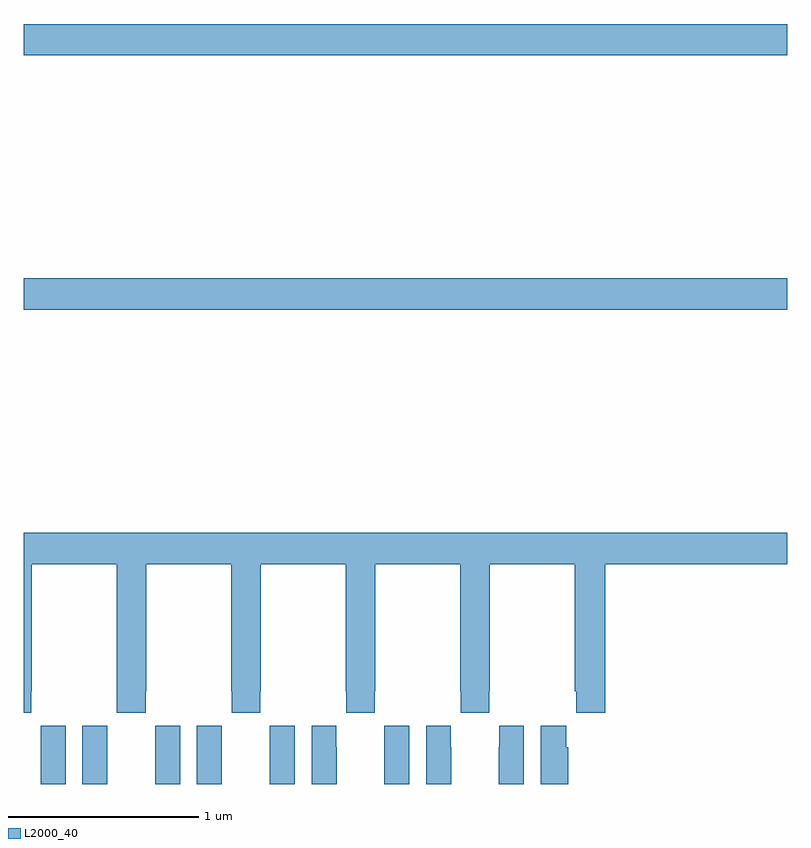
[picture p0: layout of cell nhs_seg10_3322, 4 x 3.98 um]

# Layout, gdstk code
import gdstk
lib = gdstk.Library(unit=1e-6, precision=1e-09)
def R(c, l, rs):  # rectangles x0, y0, x1, y1
    for r in rs: c.add(gdstk.rectangle(r[:2], r[2:], *l))
def P(c, l, *ps):  # polygons
    for p in ps: c.add(gdstk.Polygon(p, *l))
L2000_40 = (2000, 40)

nhs_seg10_3322 = lib.new_cell('nhs_seg10_3322')
R(nhs_seg10_3322, L2000_40, [(291,1298.984,295,1299.148), (291,1300.316,295,1300.48)])
P(nhs_seg10_3322, L2000_40, [(291.039,1296.985),(291.042,1296.985),(291.042,1297.652),(291.487,1297.652),(291.487,1296.985),(291.489,1296.985),(291.489,1296.873),(291.639,1296.873),(291.639,1296.985),(291.642,1296.985),(291.642,1297.652),(292.087,1297.652),(292.087,1296.985),(292.089,1296.985),(292.089,1296.873),(292.239,1296.873),(292.239,1296.985),(292.242,1296.985),(292.242,1297.652),(292.687,1297.652),(292.687,1296.985),(292.689,1296.985),(292.689,1296.873),(292.839,1296.873),(292.839,1296.985),(292.842,1296.985),(292.842,1297.652),(293.287,1297.652),(293.287,1296.985),(293.289,1296.985),(293.289,1296.873),(293.439,1296.873),(293.439,1296.985),(293.442,1296.985),(293.442,1297.652),(293.887,1297.652),(293.887,1296.985),(293.893,1296.985),(293.893,1296.873),(294.047,1296.873),(294.047,1297.652),(295,1297.652),(295,1297.816),(291,1297.816),(291,1296.873),(291.039,1296.873)],
  [(293.852,1296.692),(293.842,1296.692),(293.842,1296.805),(293.708,1296.805),(293.708,1296.5),(293.852,1296.5)],
  [(293.62,1296.805),(293.49,1296.805),(293.49,1296.692),(293.489,1296.692),(293.489,1296.5),(293.62,1296.5)],
  [(293.239,1296.692),(293.238,1296.692),(293.238,1296.805),(293.108,1296.805),(293.108,1296.5),(293.239,1296.5)],
  [(292.639,1296.692),(292.638,1296.692),(292.638,1296.805),(292.508,1296.805),(292.508,1296.5),(292.639,1296.5)],
  [(293.02,1296.805),(292.89,1296.805),(292.89,1296.692),(292.889,1296.692),(292.889,1296.5),(293.02,1296.5)],
  [(292.42,1296.805),(292.29,1296.805),(292.29,1296.692),(292.289,1296.692),(292.289,1296.5),(292.42,1296.5)],
  [(291.82,1296.805),(291.69,1296.805),(291.69,1296.692),(291.689,1296.692),(291.689,1296.5),(291.82,1296.5)],
  [(291.439,1296.692),(291.438,1296.692),(291.438,1296.805),(291.308,1296.805),(291.308,1296.5),(291.439,1296.5)],
  [(291.22,1296.805),(291.09,1296.805),(291.09,1296.692),(291.089,1296.692),(291.089,1296.5),(291.22,1296.5)],
  [(292.039,1296.692),(292.038,1296.692),(292.038,1296.805),(291.908,1296.805),(291.908,1296.5),(292.039,1296.5)])

lib.write_gds('nhs_seg10_3322.gds')
